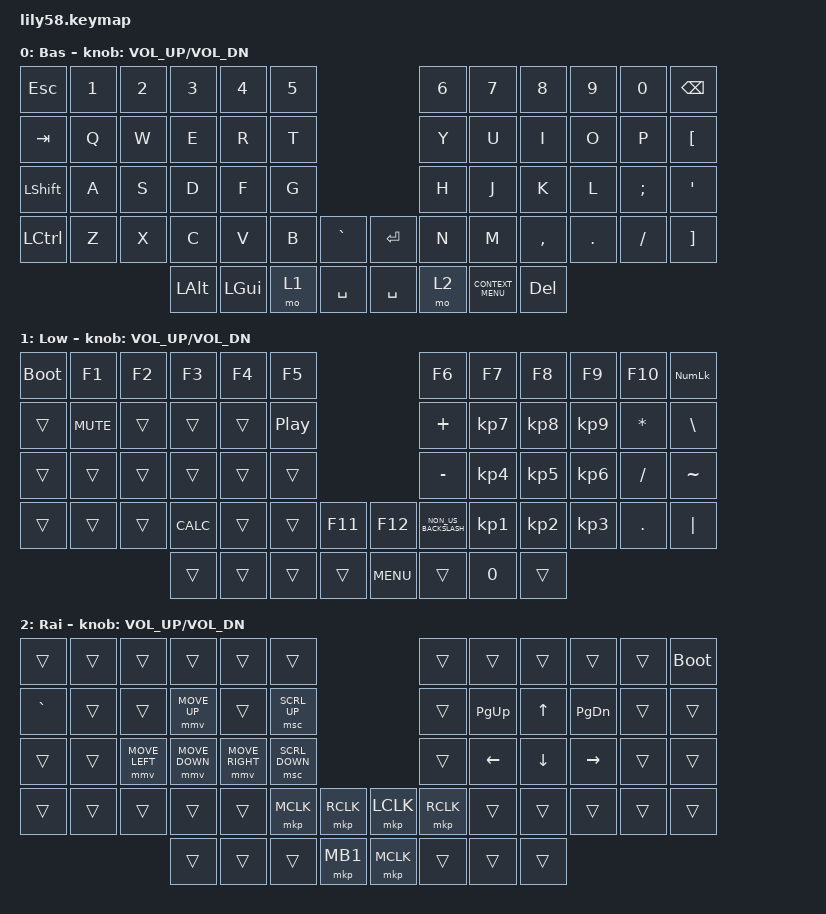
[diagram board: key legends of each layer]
/*
 * Copyright (c) 2020 The ZMK Contributors
 *
 * SPDX-License-Identifier: MIT
 */

#include <behaviors.dtsi>
#include <dt-bindings/zmk/keys.h>
#include <dt-bindings/zmk/pointing.h>

/ {
    keymap {
        compatible = "zmk,keymap";

        default_layer {
            // ------------------------------------------------------------------------------------------------------------
            // |  ESC  |  1  |  2  |  3   |  4   |  5   |                   |  6   |  7    |  8    |  9   |   0   |   `   |
            // |  TAB  |  Q  |  W  |  E   |  R   |  T   |                   |  Y   |  U    |  I    |  O   |   P   |   -   |
            // |  CTRL |  A  |  S  |  D   |  F   |  G   |                   |  H   |  J    |  K    |  L   |   ;   |   '   |
            // | SHIFT |  Z  |  X  |  C   |  V   |  B   |   "["  |  |  "]"  |  N   |  M    |  ,    |  .   |   /   | SHIFT |
            //                     | ALT  | GUI  | LOWER|  SPACE |  | ENTER | RAISE| BSPC  | GUI   |

            display-name = "Bas";
            bindings = <
&kp ESC         &kp N1  &kp N2  &kp N3    &kp N4    &kp N5                          &kp N6  &kp N7              &kp N8      &kp N9   &kp N0    &kp BACKSPACE
&kp TAB         &kp Q   &kp W   &kp E     &kp R     &kp T                           &kp Y   &kp U               &kp I       &kp O    &kp P     &kp LEFT_BRACKET
&kp LEFT_SHIFT  &kp A   &kp S   &kp D     &kp F     &kp G                           &kp H   &kp J               &kp K       &kp L    &kp SEMI  &kp SQT
&kp LCTRL       &kp Z   &kp X   &kp C     &kp V     &kp B   &kp GRAVE    &kp ENTER  &kp N   &kp M               &kp COMMA   &kp DOT  &kp FSLH  &kp RIGHT_BRACKET
                                &kp LALT  &kp LGUI  &mo 1   &kp SPACE    &kp SPACE  &mo 2   &kp K_CONTEXT_MENU  &kp DELETE
            >;

            sensor-bindings = <&inc_dec_kp C_VOL_UP C_VOL_DN>;
        };

        lower_layer {
            // ------------------------------------------------------------------------------------------------------------
            // | BTCLR | BT1 | BT2 |  BT3 |  BT4 |  BT5 |                   |      |       |       |      |       |       |
            // |  F1   |  F2 |  F3 |  F4  |  F5  |  F6  |                   |  F7  |  F8   |  F9   |  F10 |  F11  |  F12  |
            // |   `   |  !  |  @  |  #   |  $   |  %   |                   |  ^   |  &    |  *    |  (   |   )   |   ~   |
            // |       |     |     |      |      |      |        |  |       |      |  _    |  +    |  {   |   }   |  "|"  |
            //                     |      |      |      |        |  |       |      |       |       |

            display-name = "Low";
            bindings = <
&bootloader  &kp F1      &kp F2  &kp F3      &kp F4  &kp F5                                   &kp F6                &kp F7           &kp F8           &kp F9           &kp F10       &kp KP_NUMLOCK
&trans       &kp C_MUTE  &trans  &trans      &trans  &kp C_PLAY_PAUSE                         &kp PLUS              &kp KP_NUMBER_7  &kp KP_NUMBER_8  &kp KP_NUMBER_9  &kp ASTERISK  &kp BACKSLASH
&trans       &trans      &trans  &trans      &trans  &trans                                   &kp MINUS             &kp KP_NUMBER_4  &kp KP_NUMBER_5  &kp KP_NUMBER_6  &kp SLASH     &kp TILDE
&trans       &trans      &trans  &kp K_CALC  &trans  &trans            &kp F11    &kp F12     &kp NON_US_BACKSLASH  &kp KP_NUMBER_1  &kp KP_NUMBER_2  &kp KP_NUMBER_3  &kp PERIOD    &kp PIPE
                                 &trans      &trans  &trans            &trans     &kp K_MENU  &trans                &kp N0           &trans
            >;

            sensor-bindings = <&inc_dec_kp C_VOL_UP C_VOL_DN>;
        };

        raise_layer {
            // ------------------------------------------------------------------------------------------------------------
            // |       |     |     |      |      |      |                   |      |       |       |      |       |       |
            // |   `   |  1  |  2  |  3   |  4   |  5   |                   |  6   |   7   |   8   |  9   |   0   |       |
            // |   F1  |  F2 |  F3 |  F4  |  F5  |  F6  |                   |      |   <-  |   v   |  ^   |  ->   |       |
            // |   F7  |  F8 |  F9 |  F10 |  F11 |  F12 |        |  |       |  +   |   -   |   =   |  [   |   ]   |   \   |
            //                     |      |      |      |        |  |       |      |       |       |

            display-name = "Rai";
            bindings = <
&trans     &trans  &trans          &trans          &trans           &trans                                  &trans     &trans     &trans        &trans         &trans  &bootloader
&kp GRAVE  &trans  &trans          &mmv MOVE_UP    &trans           &msc SCRL_UP                            &trans     &kp PG_UP  &kp UP_ARROW  &kp PAGE_DOWN  &trans  &trans
&trans     &trans  &mmv MOVE_LEFT  &mmv MOVE_DOWN  &mmv MOVE_RIGHT  &msc SCRL_DOWN                          &trans     &kp LEFT   &kp DOWN      &kp RIGHT      &trans  &trans
&trans     &trans  &trans          &trans          &trans           &mkp MCLK       &mkp RCLK    &mkp LCLK  &mkp RCLK  &trans     &trans        &trans         &trans  &trans
                                   &trans          &trans           &trans          &mkp MB1     &mkp MCLK  &trans     &trans     &trans
            >;

            sensor-bindings = <&inc_dec_kp C_VOL_UP C_VOL_DN>;
        };

        extra_1 { status = "reserved"; };

        extra_2 { status = "reserved"; };

        extra_3 { status = "reserved"; };
    };
};
